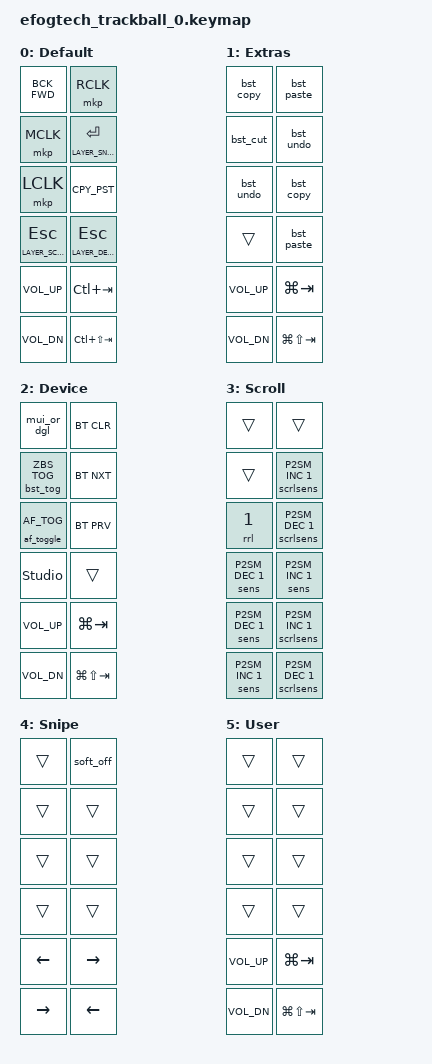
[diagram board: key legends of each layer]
#include <behaviors.dtsi>
#include <dt-bindings/zmk/bt.h>
#include <dt-bindings/zmk/keys.h>
#include <dt-bindings/zmk/pointing.h>
#include <dt-bindings/zmk/outputs.h>
#include <dt-bindings/zmk/adaptive_feedback.h>
#include <dt-bindings/zmk/bistable_behavior.h>
#include <dt-bindings/zmk/p2sm.h>

#ifndef LAYER_DEFAULT
#define LAYER_DEFAULT      0
#define LAYER_EXTRAS       1
#define LAYER_DEVICE       2
#define LAYER_SCROLL       3
#define LAYER_SNIPE        4
#define LAYER_USER         5
#endif

/ {
	keymap {
		compatible = "zmk,keymap";

		default_layer {
			display-name = "Default";
			DECLARE_ENCODERS;
			bindings = <
			    // buttons
			    &BCK_FWD                  &mkp RCLK
			    &mkp MCLK                 &ltmkp LAYER_SNIPE ENTER
			    &mkp LCLK                 &CPY_PST
			    &lt LAYER_SCROLL ESC      &ltm LAYER_DEVICE ESC

			    // rotary encoders
			    &kp C_VOL_UP              &kp LC(TAB)
			    &kp C_VOL_DN              &kp LC(LS(TAB))
		    >;
		};

		layer1 {
			display-name = "Extras";
			DECLARE_ENCODERS;
			bindings = <
			    &bst_copy      &bst_paste
			    &bst_cut       &bst_undo
			    &bst_undo      &bst_copy
			    &trans         &bst_paste

			    &kp C_VOL_UP   &kp LG(TAB)
			    &kp C_VOL_DN   &kp LG(LS(TAB))
	   		>;
		};

		layer2 {
			display-name = "Device";
			DECLARE_ENCODERS;
			bindings = <
			    &mui_or_dgl          &bt BT_CLR
			    &bst_tog ZBS_TOG     &bt BT_NXT
			    &af_toggle AF_TOG    &bt BT_PRV
			    &studio_unlock       &trans

			    &kp C_VOL_UP         &kp LG(TAB)
			    &kp C_VOL_DN         &kp LG(LS(TAB))
		   	>;
		};

		layer3 {
			display-name = "Scroll";
			DECLARE_ENCODERS;
			bindings = <
			    &trans              &trans
			    &trans              &scrlsens P2SM_INC 1
			    &rrl 1              &scrlsens P2SM_DEC 1
			    &sens P2SM_DEC 1    &sens P2SM_INC 1

			    &sens P2SM_DEC 1    &scrlsens P2SM_INC 1
			    &sens P2SM_INC 1    &scrlsens P2SM_DEC 1
		  	>;
		};

		layer4 {
			display-name = "Snipe";
			DECLARE_ENCODERS;
			bindings = <
			    &trans           &soft_off
			    &trans           &trans
			    &trans           &trans
			    &trans           &trans

			    &kp LEFT         &kp RIGHT
			    &kp RIGHT        &kp LEFT
	   		>;
		};

		layer5 {
			display-name = "User";
			DECLARE_ENCODERS;
			bindings = <
				&trans        &trans
				&trans        &trans
				&trans        &trans
				&trans        &trans

				&kp C_VOL_UP  &kp LG(TAB)
				&kp C_VOL_DN  &kp LG(LS(TAB))
		    >;
		};
	};

	behaviors {
		CPY_PST: tap-dance-2 {
			compatible = "zmk,behavior-tap-dance";
			display-name = "Back/Forward (tap/double-tap)";
			#binding-cells = <0>;
			tapping-term-ms = <300>;
			bindings = <&kp LG(C)>, <&kp LG(V)>;
		};
		BCK_FWD: tap-dance-1 {
			compatible = "zmk,behavior-tap-dance";
			display-name = "Back/Forward (tap/double-tap)";
			#binding-cells = <0>;
			tapping-term-ms = <300>;
			bindings = <&mkp MB4>, <&mkp MB5>;
		};
	};

	trackball {
		input-processors = <&zip_bistable_twist_scaler>,
						   <&zip_pointer_accel>, <&zip_scroll_accel>, <&zip_rotate_pointer>,
						   <&zip_scroll_transform INPUT_TRANSFORM_Y_INVERT>,
		                   <&esb_ip>, <&zip_ble_report_rate_limit>;

		scroll {
			layers = <LAYER_SCROLL>;
			input-processors = <&zip_bistable_scroll_xy_scaler>, <&zip_axis_clamper>,
							   <&zip_xy_to_scroll_mapper>, <&zip_scroll_transform INPUT_TRANSFORM_Y_INVERT>,
							   <&zip_dragscroll_accel>, <&zip_rotate_scroll>,
							   <&esb_ip>, <&zip_ble_report_rate_limit>;
		};

		snipe {
			layers = <LAYER_SNIPE>;
			input-processors = <&zip_bistable_snipe_scaler>, <&zip_rotate_pointer>,
							   <&esb_ip>, <&zip_ble_report_rate_limit>;
		};
	};
};
